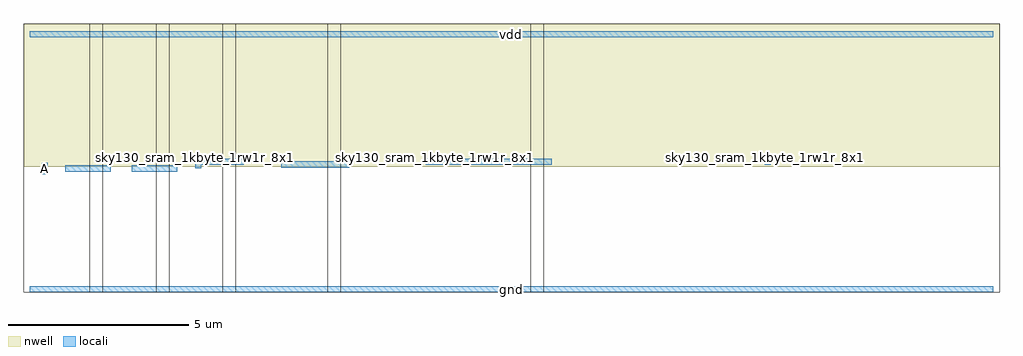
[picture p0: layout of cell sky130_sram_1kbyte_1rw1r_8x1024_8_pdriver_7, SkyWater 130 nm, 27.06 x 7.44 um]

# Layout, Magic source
magic
tech sky130A
magscale 1 2
<< nwell >>
rect -36 679 5376 1471
<< locali >>
rect 0 1397 5340 1431
rect 64 636 98 702
rect 915 690 1185 724
rect 196 652 449 686
rect 564 652 817 686
rect 915 669 949 690
rect 1393 674 1769 708
rect 2195 690 2893 724
rect 4073 690 4107 724
rect 0 -17 5340 17
use sky130_sram_1kbyte_1rw1r_8x1024_8_pinv_19  sky130_sram_1kbyte_1rw1r_8x1024_8_pinv_19_0
transform 1 0 2812 0 1 0
box -36 -17 2564 1471
use sky130_sram_1kbyte_1rw1r_8x1024_8_pinv_8  sky130_sram_1kbyte_1rw1r_8x1024_8_pinv_8_0
transform 1 0 1688 0 1 0
box -36 -17 1160 1471
use sky130_sram_1kbyte_1rw1r_8x1024_8_pinv_7  sky130_sram_1kbyte_1rw1r_8x1024_8_pinv_7_0
transform 1 0 1104 0 1 0
box -36 -17 620 1471
use sky130_sram_1kbyte_1rw1r_8x1024_8_pinv_0  sky130_sram_1kbyte_1rw1r_8x1024_8_pinv_0_0
transform 1 0 736 0 1 0
box -36 -17 404 1471
use sky130_sram_1kbyte_1rw1r_8x1024_8_pinv_0  sky130_sram_1kbyte_1rw1r_8x1024_8_pinv_0_1
transform 1 0 368 0 1 0
box -36 -17 404 1471
use sky130_sram_1kbyte_1rw1r_8x1024_8_pinv_0  sky130_sram_1kbyte_1rw1r_8x1024_8_pinv_0_2
transform 1 0 0 0 1 0
box -36 -17 404 1471
<< labels >>
rlabel locali s 4090 707 4090 707 4 Z
port 1 nsew
rlabel locali s 81 669 81 669 4 A
port 2 nsew
rlabel locali s 2670 0 2670 0 4 gnd
port 3 nsew
rlabel locali s 2670 1414 2670 1414 4 vdd
port 4 nsew
<< properties >>
string FIXED_BBOX 0 0 5340 1414
string GDS_FILE $PDKPATH/libs.ref/sky130_sram_macros/gds/sky130_sram_1kbyte_1rw1r_8x1024_8.gds
string GDS_END 6040316
string GDS_START 6038430
<< end >>
